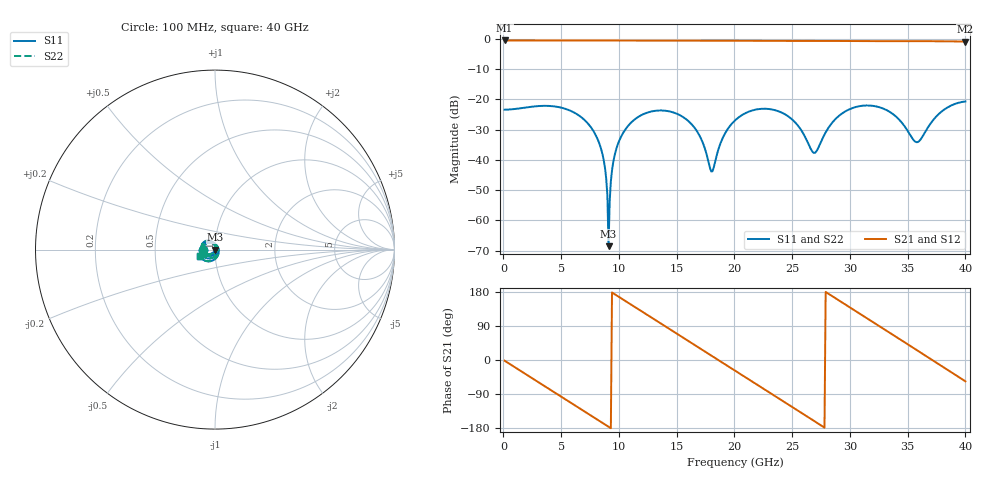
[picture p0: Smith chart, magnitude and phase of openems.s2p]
! thru_ts6_L3: 2×thru, L3, 8 mm
! stackup: ThunderScope Rev5.3 6-layer (FR408HR / FR-4, from the board file)
! ports: 1, 2
! openEMS 0.37.0, staircase, fine mesh (dfine 0.0175 mm), 590436 cells
# Hz S RI R 50
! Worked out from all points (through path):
!   400 points, 100 MHz to 40 GHz, reference 50 ohm
!   highest |S21| = -0.61 dB at 100 MHz (marker M1); lowest = -1.0 dB at 40 GHz (marker M2)
!   group delay of S21, straight-line fit = 53.9 ps
!   lowest |S11| = -68.5 dB at 9.1 GHz (marker M3), VSWR 1.00, Z = 50 + j0.0135 ohm
!   |S11| at or under -10 dB: start of sweep to end of sweep
!   |S22| runs from -68.5 to -20.7 dB; largest |S21 - S12| = 0
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1e8  -0.0673 0.000159  0.9321 -0.0315  0.9321 -0.0315  -0.0673 0.000159
3.7e9  -0.072 0.0295  0.2944 -0.8841  0.2944 -0.8841  -0.072 0.0295
6.8e9  -0.0191 0.0456  -0.6176 -0.6976  -0.6176 -0.6976  -0.0191 0.0456
8.6e9  0.00189 0.0117  -0.9054 -0.2191  -0.9054 -0.2191  0.00189 0.0117
9e9  0.000943 0.00239  -0.9265 -0.0948  -0.9265 -0.0948  0.000943 0.00239
9.1e9  0.000352 0.000135  -0.9291 -0.0634  -0.9291 -0.0634  0.000352 0.000135
9.2e9  -0.000377 -0.00207  -0.9307 -0.0319  -0.9307 -0.0319  -0.000377 -0.00207
9.3e9  -0.00124 -0.00422  -0.9312 -0.000394  -0.9312 -0.000394  -0.00124 -0.00422
9.9e9  -0.00905 -0.0155  -0.9115 0.1873  -0.9115 0.1873  -0.00905 -0.0155
1.13e10  -0.038 -0.0249  -0.7243 0.581  -0.7243 0.581  -0.038 -0.0249
1.34e10  -0.0647 0.00798  -0.1719 0.9094  -0.1719 0.9094  -0.0647 0.00798
1.64e10  -0.0124 0.0345  0.6796 0.6282  0.6796 0.6282  -0.0124 0.0345
1.8e10  0.00637 0.000737  0.9063 0.1873  0.9063 0.1873  0.00637 0.000737
2.01e10  -0.0274 -0.0365  0.8057 -0.4492  0.8057 -0.4492  -0.0274 -0.0365
2.34e10  -0.0628 0.0229  -0.0471 -0.9158  -0.0471 -0.9158  -0.0628 0.0229
2.67e10  0.0116 0.00809  -0.8449 -0.3587  -0.8449 -0.3587  0.0116 0.00809
2.95e10  -0.036 -0.0496  -0.7771 0.4785  -0.7771 0.4785  -0.036 -0.0496
3.15e10  -0.0784 -0.00903  -0.3048 0.855  -0.3048 0.855  -0.0784 -0.00903
3.34e10  -0.0481 0.0401  0.2679 0.8668  0.2679 0.8668  -0.0481 0.0401
3.58e10  0.0188 0.00543  0.8172 0.397  0.8172 0.397  0.0188 0.00543
3.78e10  -0.00906 -0.0588  0.8794 -0.209  0.8794 -0.209  -0.00906 -0.0588
4e10  -0.0836 -0.0382  0.498 -0.7448  0.498 -0.7448  -0.0836 -0.0382
